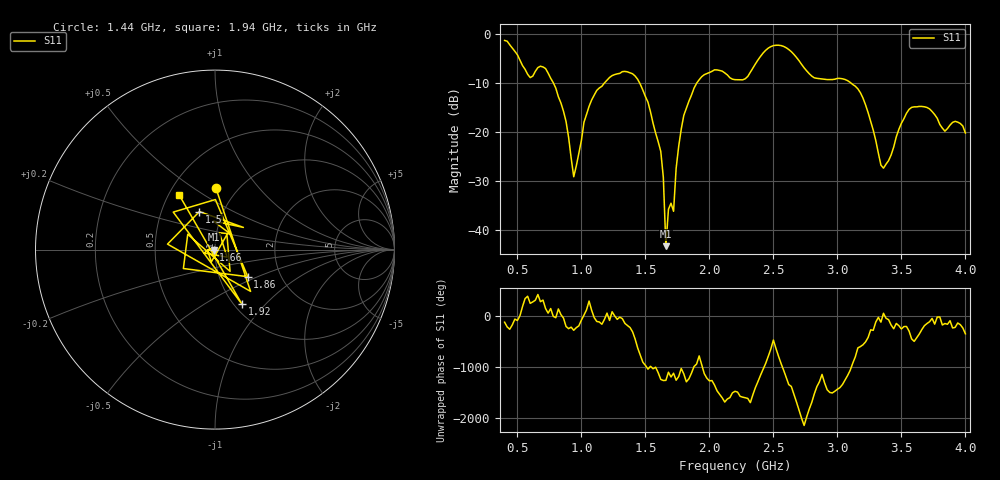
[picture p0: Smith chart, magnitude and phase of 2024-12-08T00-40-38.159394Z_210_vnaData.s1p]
!Created with skrf (http://scikit-rf.org).
# Hz S RI R 50.0
!freq ReS11 ImS11
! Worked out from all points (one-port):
!   181 points, 400 MHz to 4 GHz, reference 50 ohm
!   lowest |S11| = -43.3 dB at 1.66 GHz (marker M1), VSWR 1.01, Z = 49.3 + j0.0119 ohm
!   |S11| at or under -10 dB: 780.5 MHz to 1.181 GHz (400.5 MHz wide, 40.8 % of centre); 1.454 GHz to 1.903 GHz (448.7 MHz wide, 26.7 % of centre); 3.104 GHz to end of sweep
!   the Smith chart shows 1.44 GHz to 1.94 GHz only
!   S11 on the Smith chart (normalised r, x): 1.44 GHz: 0.80, +0.62; 1.5 GHz: 0.77, +0.35; 1.66 GHz: 0.99, +0.00; 1.86 GHz: 1.37, -0.44; 1.92 GHz: 1.09, -0.75; 1.94 GHz: 0.57, +0.40
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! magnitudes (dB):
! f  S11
! 400 MHz  -1.4
! 600 MHz  -8.9
! 720 MHz  -7.1
! 860 MHz  -15.8
! 940 MHz  -29.2
! 1.02 GHz  -18.0
! 1.08 GHz  -13.5
! 1.3 GHz  -8.1
! 1.44 GHz  -9.3
! 1.5 GHz  -12.8
! 1.62 GHz  -24.0
! 1.64 GHz  -29.3
! 1.66 GHz  -43.3
! 1.68 GHz  -35.8
! 1.72 GHz  -36.2
! 1.76 GHz  -23.0
! 1.86 GHz  -12.5
! 1.92 GHz  -9.4
! 1.94 GHz  -8.8
! 2.2 GHz  -9.4
! 2.48 GHz  -2.6
! 2.66 GHz  -4.2
! 2.82 GHz  -9.0
! 3.1 GHz  -9.9
! 3.2 GHz  -13.1
! 3.36 GHz  -27.4
! 3.56 GHz  -15.4
! 4 GHz  -20.2
